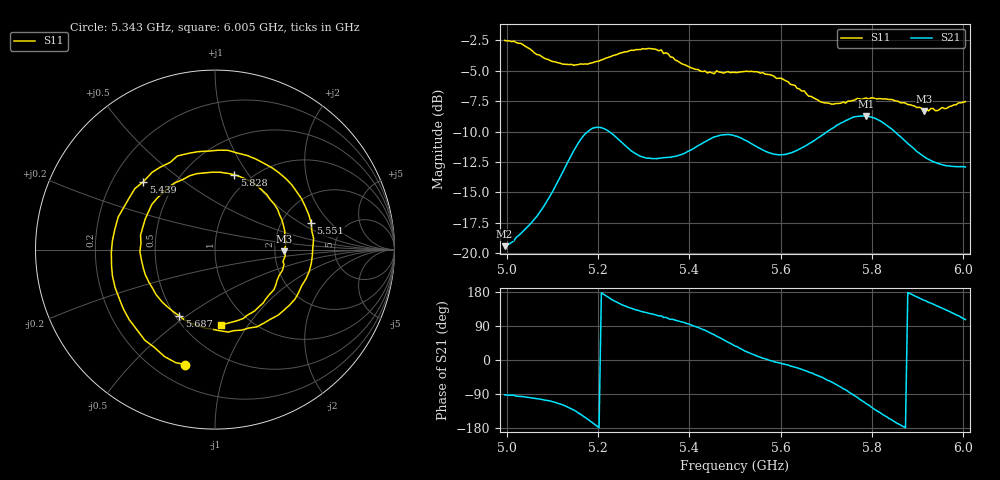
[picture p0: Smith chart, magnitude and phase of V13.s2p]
!File created by NanoVNA
# Hz S RI R 50
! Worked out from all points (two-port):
!   201 points, 4.995 GHz to 6.005 GHz, reference 50 ohm
!   highest |S21| = -8.71 dB at 5.788 GHz (marker M1); lowest = -19.4 dB at 4.995 GHz (marker M2)
!   |S21| within 3 dB of the highest: 5.393 GHz to 5.573 GHz (179.9 MHz wide, 3.28 % of centre); 5.626 GHz to 5.901 GHz (275.3 MHz wide, 4.78 % of centre)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
!   lowest |S11| = -8.3 dB at 5.914 GHz (marker M3), VSWR 2.25, Z = 112 - j2.43 ohm
!   |S11| at or under -10 dB: nowhere
!   S12 and S22 are empty: the file has one direction only
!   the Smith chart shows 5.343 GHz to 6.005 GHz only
!   S11 on the Smith chart (normalised r, x): 5.343 GHz: 0.32, -0.72; 5.439 GHz: 0.33, +0.36; 5.551 GHz: 2.91, +1.25; 5.687 GHz: 0.52, -0.47; 5.828 GHz: 0.84, +0.86; 6.005 GHz: 0.74, -0.75
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4.995e9  0.2052 -0.7203  -0.00367 -0.1069  0 0  0 0
5.03035e9  -0.3087 -0.6602  -0.0131 -0.1197  0 0  0 0
5.0758e9  -0.6387 -0.0863  -0.0366 -0.1466  0 0  0 0
5.1263e9  -0.3472 0.4866  -0.1124 -0.1928  0 0  0 0
5.1667e9  0.1055 0.5887  -0.2553 -0.1612  0 0  0 0
5.2576e9  0.6638 -0.1061  -0.2232 0.1674  0 0  0 0
5.298e9  0.4481 -0.5285  -0.1498 0.1982  0 0  0 0
5.33335e9  -0.00837 -0.6793  -0.1087 0.22  0 0  0 0
5.34345e9  -0.1666 -0.6402  -0.0928 0.2291  0 0  0 0
5.39395e9  -0.5713 -0.1475  -0.0286 0.2591  0 0  0 0
5.4394e9  -0.4002 0.3778  0.0714 0.2816  0 0  0 0
5.5e9  0.2254 0.5055  0.2428 0.1822  0 0  0 0
5.5505e9  0.5355 0.1482  0.2686 0.0437  0 0  0 0
5.6212e9  0.3027 -0.3913  0.2484 -0.07  0 0  0 0
5.6717e9  -0.0918 -0.4258  0.2342 -0.1695  0 0  0 0
5.68685e9  -0.198 -0.3699  0.2175 -0.2091  0 0  0 0
5.73735e9  -0.4184 -0.0117  0.0833 -0.336  0 0  0 0
5.78785e9  -0.2251 0.3716  -0.1586 -0.331  0 0  0 0
5.82825e9  0.1076 0.4174  -0.2855 -0.1849  0 0  0 0
5.83835e9  0.1724 0.3922  -0.2981 -0.1406  0 0  0 0
5.9141e9  0.3843 -0.00922  -0.231 0.0951  0 0  0 0
6.005e9  0.0307 -0.4188  -0.0651 0.2167  0 0  0 0
